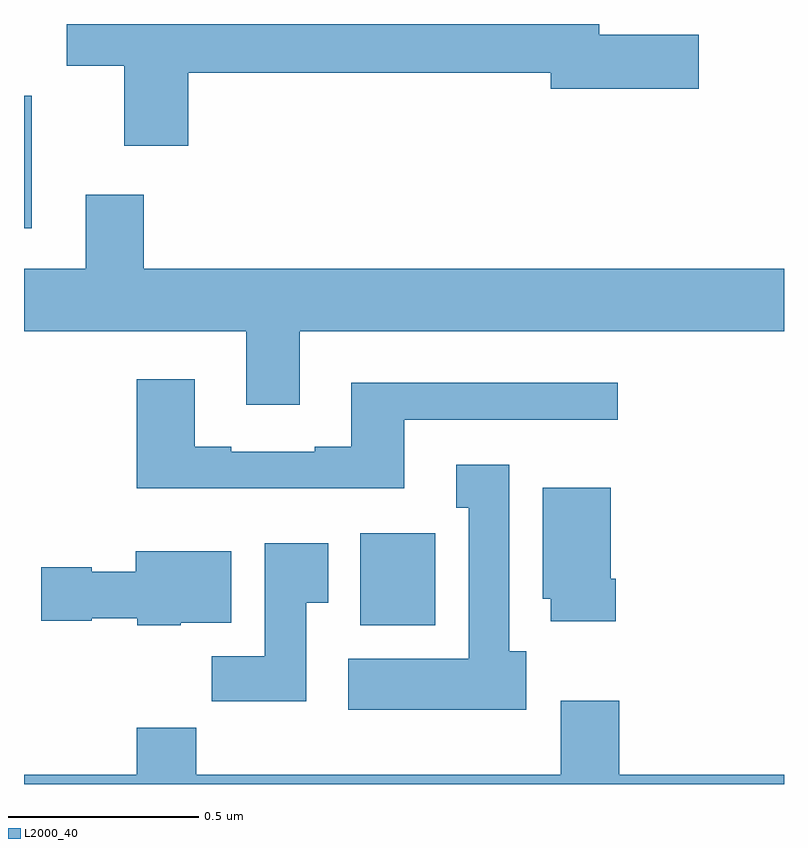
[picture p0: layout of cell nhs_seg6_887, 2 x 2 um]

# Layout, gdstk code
import gdstk
lib = gdstk.Library(unit=1e-6, precision=1e-09)
def R(c, l, rs):  # rectangles x0, y0, x1, y1
    for r in rs: c.add(gdstk.rectangle(r[:2], r[2:], *l))
def P(c, l, *ps):  # polygons
    for p in ps: c.add(gdstk.Polygon(p, *l))
L2000_40 = (2000, 40)

nhs_seg6_887 = lib.new_cell('nhs_seg6_887')
R(nhs_seg6_887, L2000_40, [(122.885,923.918,123.082,924.16), (122,924.963,122.02,925.311)])
P(nhs_seg6_887, L2000_40, [(122.432,925.372),(123.386,925.372),(123.386,925.33),(123.775,925.33),(123.775,925.472),(123.514,925.472),(123.514,925.5),(122.112,925.5),(122.112,925.39),(122.264,925.39),(122.264,925.179),(122.432,925.179)],
  [(122.725,924.692),(124,924.692),(124,924.856),(122.315,924.856),(122.315,925.051),(122.162,925.051),(122.162,924.856),(122,924.856),(122,924.692),(122.585,924.692),(122.585,924.498),(122.725,924.498)],
  [(123.001,924.459),(123.562,924.459),(123.562,924.556),(122.861,924.556),(122.861,924.388),(122.765,924.388),(122.765,924.375),(122.545,924.375),(122.545,924.388),(122.449,924.388),(122.449,924.565),(122.297,924.565),(122.297,924.278),(123.001,924.278)],
  [(123.322,923.85),(123.277,923.85),(123.277,924.34),(123.137,924.34),(123.137,924.227),(123.17,924.227),(123.17,923.83),(122.853,923.83),(122.853,923.696),(123.322,923.696)],
  [(123.557,924.04),(123.544,924.04),(123.544,924.28),(123.365,924.28),(123.365,923.988),(123.386,923.988),(123.386,923.928),(123.557,923.928)],
  [(122.743,923.977),(122.8,923.977),(122.8,924.133),(122.633,924.133),(122.633,923.836),(122.494,923.836),(122.494,923.718),(122.743,923.718)],
  [(122.412,923.924),(122.545,923.924),(122.545,924.112),(122.294,924.112),(122.294,924.058),(122.178,924.058),(122.178,924.071),(122.046,924.071),(122.046,923.929),(122.178,923.929),(122.178,923.936),(122.298,923.936),(122.298,923.918),(122.412,923.918)],
  [(124,923.524),(123.566,923.524),(123.566,923.719),(123.413,923.719),(123.413,923.524),(122.453,923.524),(122.453,923.648),(122.297,923.648),(122.297,923.524),(122,923.524),(122,923.5),(124,923.5)])

lib.write_gds('nhs_seg6_887.gds')
